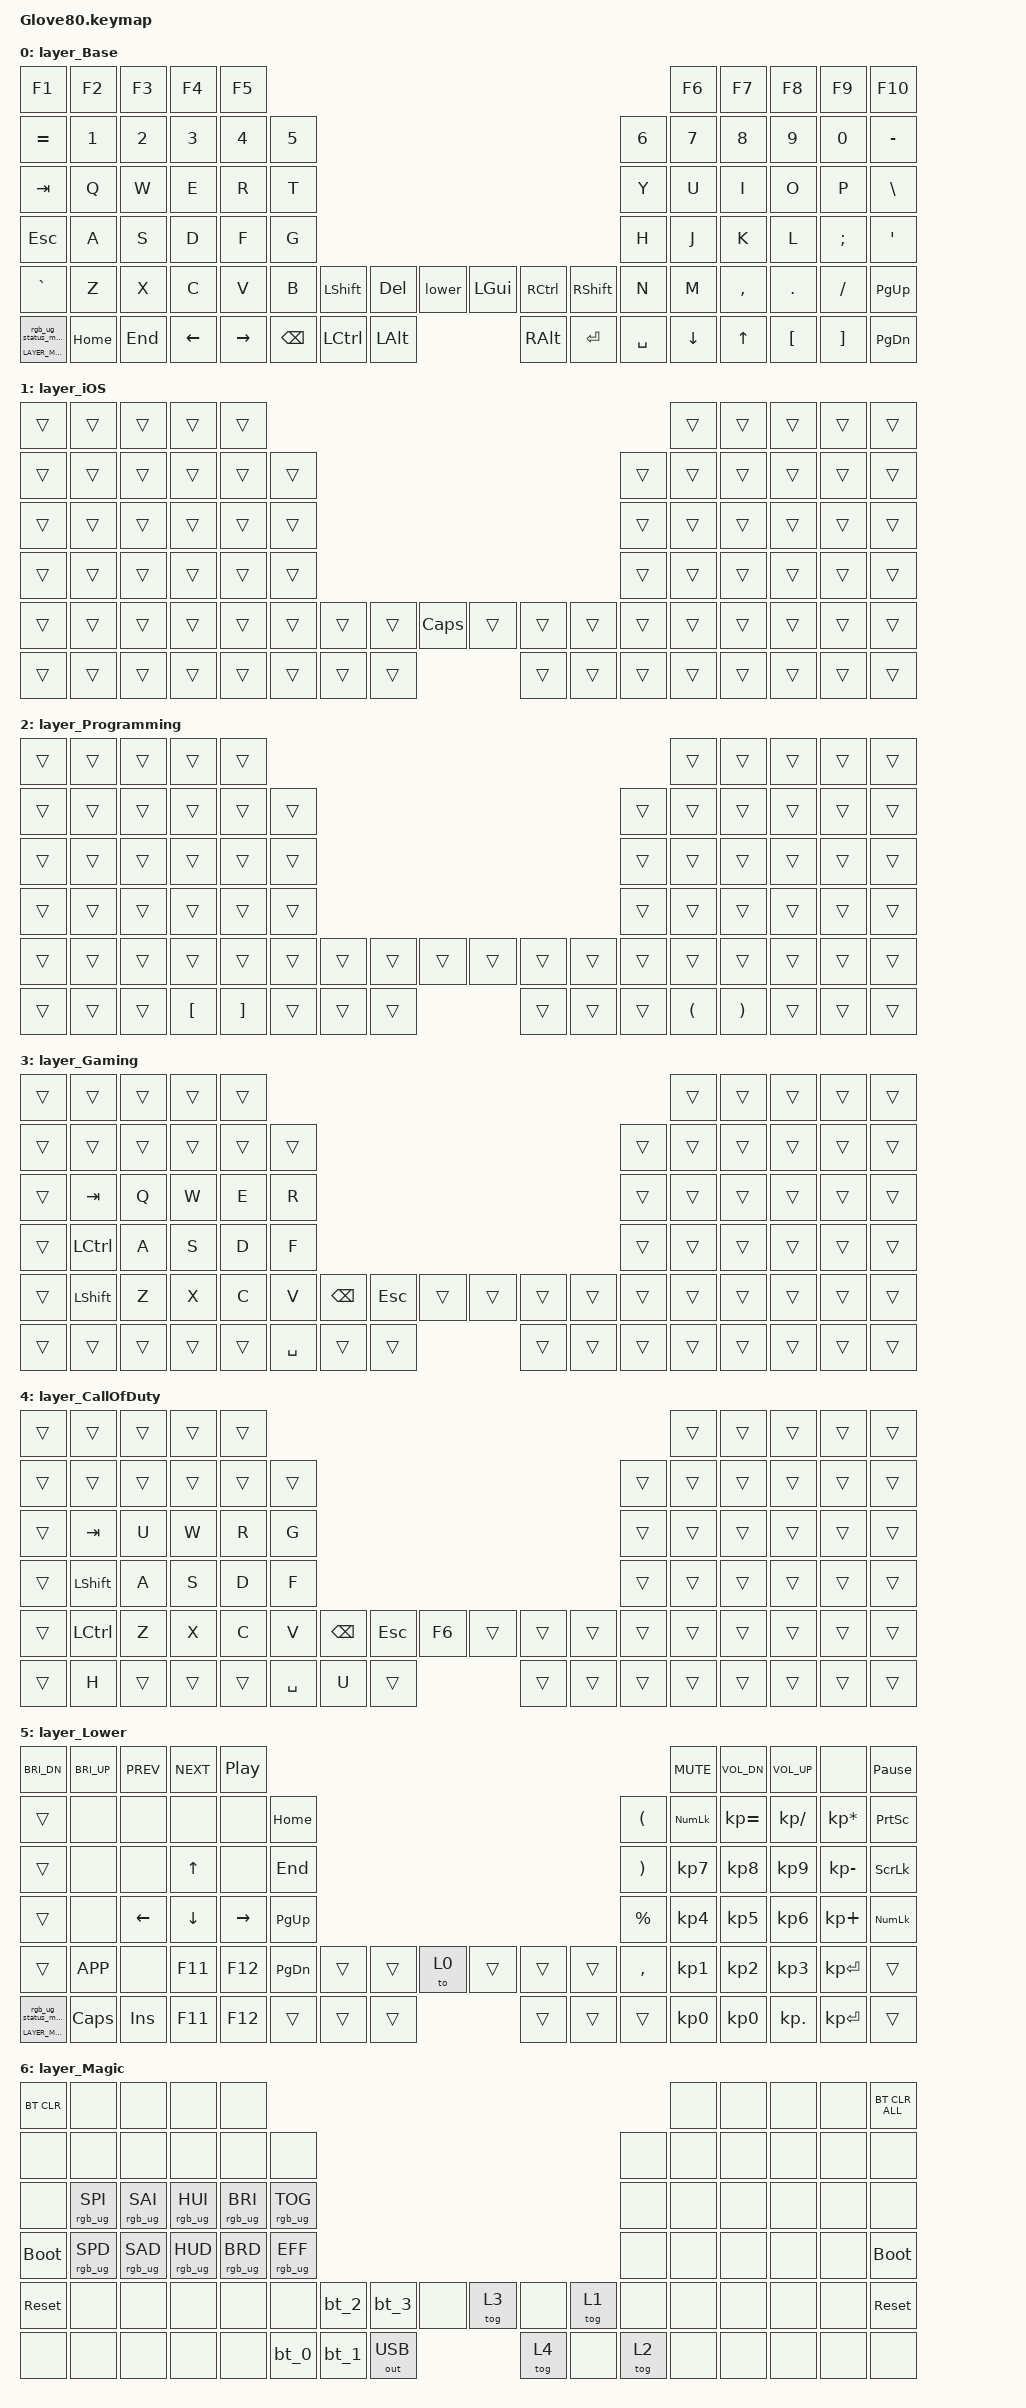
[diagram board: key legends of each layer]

/*
 * Copyright (c) 2020 The ZMK Contributors
 * Copyright (c) 2023 Innaworks Development Limited, trading as MoErgo
 *
 * SPDX-License-Identifier: MIT
 */


/* THIS FILE WAS GENERATED BY GLOVE80 LAYOUT EDITOR
 *
 * This file was generated automatically. You may or may not want to
 * edit it directly.
 */

#include <behaviors.dtsi>
/* Include all behaviour includes needed */
#include <dt-bindings/zmk/outputs.h>
#include <dt-bindings/zmk/keys.h>
#include <dt-bindings/zmk/bt.h>
#include <dt-bindings/zmk/rgb.h>

/* Automatically generated layer name #define */
#define LAYER_Base 0
#define LAYER_iOS 1
#define LAYER_Programming 2
#define LAYER_Gaming 3
#define LAYER_CallOfDuty 4
#define LAYER_Lower 5
#define LAYER_Magic 6

/* To deal with the situation where there is no Lower layer, to keep &lower happy */
#ifndef LAYER_Lower
#define LAYER_Lower 0
#endif

/* Custom Device-tree */



/* Glove80 system behavior & macros */
/ {
    behaviors {
        // For the "layer" key, it'd nice to be able to use it as either a shift or a toggle.
        // Configure it as a tap dance, so the first tap (or hold) is a &mo and the second tap is a &to
        lower: lower {
            compatible = "zmk,behavior-tap-dance";
            label = "LAYER_TAP_DANCE";
            #binding-cells = <0>;
            tapping-term-ms = <200>;
            bindings = <&mo LAYER_Lower>, <&to LAYER_Lower>;
        };
    };
};

/ {
    macros {
        rgb_ug_status_macro: rgb_ug_status_macro {
            label = "RGB_UG_STATUS";
            compatible = "zmk,behavior-macro";
            #binding-cells = <0>;
            bindings
                = <&rgb_ug RGB_STATUS>;
        };
    };
};


/ {
#ifdef BT_DISC_CMD
    behaviors {
        bt_0: bt_0 {
            compatible = "zmk,behavior-tap-dance";
            label = "BT_0";
            #binding-cells = <0>;
            tapping-term-ms = <200>;
            bindings = <&bt_select_0>, <&bt BT_DISC 0>;
        };
        bt_1: bt_1 {
            compatible = "zmk,behavior-tap-dance";
            label = "BT_1";
            #binding-cells = <0>;
            tapping-term-ms = <200>;
            bindings = <&bt_select_1>, <&bt BT_DISC 1>;
        };
        bt_2: bt_2 {
            compatible = "zmk,behavior-tap-dance";
            label = "BT_2";
            #binding-cells = <0>;
            tapping-term-ms = <200>;
            bindings = <&bt_select_2>, <&bt BT_DISC 2>;
        };
        bt_3: bt_3 {
            compatible = "zmk,behavior-tap-dance";
            label = "BT_3";
            #binding-cells = <0>;
            tapping-term-ms = <200>;
            bindings = <&bt_select_3>, <&bt BT_DISC 3>;
        };
    };
    macros {
        bt_select_0: bt_select_0 {
            label = "BT_SELECT_0";
            compatible = "zmk,behavior-macro";
            #binding-cells = <0>;
            bindings
                = <&out OUT_BLE>,
                  <&bt BT_SEL 0>;
        };
        bt_select_1: bt_select_1 {
            label = "BT_SELECT_1";
            compatible = "zmk,behavior-macro";
            #binding-cells = <0>;
            bindings
                = <&out OUT_BLE>,
                  <&bt BT_SEL 1>;
        };
        bt_select_2: bt_select_2 {
            label = "BT_SELECT_2";
            compatible = "zmk,behavior-macro";
            #binding-cells = <0>;
            bindings
                = <&out OUT_BLE>,
                  <&bt BT_SEL 2>;
        };
        bt_select_3: bt_select_3 {
            label = "BT_SELECT_3";
            compatible = "zmk,behavior-macro";
            #binding-cells = <0>;
            bindings
                = <&out OUT_BLE>,
                  <&bt BT_SEL 3>;
        };
    };
#else
    macros {
        bt_0: bt_0 {
            label = "BT_0";
            compatible = "zmk,behavior-macro";
            #binding-cells = <0>;
            bindings
                = <&out OUT_BLE>,
                  <&bt BT_SEL 0>;
        };
        bt_1: bt_1 {
            label = "BT_1";
            compatible = "zmk,behavior-macro";
            #binding-cells = <0>;
            bindings
                = <&out OUT_BLE>,
                  <&bt BT_SEL 1>;
        };
        bt_2: bt_2 {
            label = "BT_2";
            compatible = "zmk,behavior-macro";
            #binding-cells = <0>;
            bindings
                = <&out OUT_BLE>,
                  <&bt BT_SEL 2>;
        };
        bt_3: bt_3 {
            label = "BT_3";
            compatible = "zmk,behavior-macro";
            #binding-cells = <0>;
            bindings
                = <&out OUT_BLE>,
                  <&bt BT_SEL 3>;
        };
    };
#endif
};

/ {
    behaviors {
        magic: magic {
            compatible = "zmk,behavior-hold-tap";
            label = "MAGIC_HOLD_TAP";
            #binding-cells = <2>;
            flavor = "tap-preferred";
            tapping-term-ms = <200>;
            bindings = <&mo>, <&rgb_ug_status_macro>;
        };
    };
};

/* #define for key positions */
#define POS_LH_T1 52
#define POS_LH_T2 53
#define POS_LH_T3 54
#define POS_LH_T4 69
#define POS_LH_T5 70
#define POS_LH_T6 71
#define POS_LH_C1R2 15
#define POS_LH_C1R3 27
#define POS_LH_C1R4 39
#define POS_LH_C1R5 51
#define POS_LH_C2R1 4
#define POS_LH_C2R2 14
#define POS_LH_C2R3 26
#define POS_LH_C2R4 38
#define POS_LH_C2R5 50
#define POS_LH_C2R6 68
#define POS_LH_C3R1 3
#define POS_LH_C3R2 13
#define POS_LH_C3R3 25
#define POS_LH_C3R4 37
#define POS_LH_C3R5 49
#define POS_LH_C3R6 67
#define POS_LH_C4R1 2
#define POS_LH_C4R2 12
#define POS_LH_C4R3 24
#define POS_LH_C4R4 36
#define POS_LH_C4R5 48
#define POS_LH_C4R6 66
#define POS_LH_C5R1 1
#define POS_LH_C5R2 11
#define POS_LH_C5R3 23
#define POS_LH_C5R4 35
#define POS_LH_C5R5 47
#define POS_LH_C5R6 65
#define POS_LH_C6R1 0
#define POS_LH_C6R2 10
#define POS_LH_C6R3 22
#define POS_LH_C6R4 34
#define POS_LH_C6R5 46
#define POS_LH_C6R6 64
#define POS_RH_T1 57
#define POS_RH_T2 56
#define POS_RH_T3 55
#define POS_RH_T4 74
#define POS_RH_T5 73
#define POS_RH_T6 72
#define POS_RH_C1R2 16
#define POS_RH_C1R3 28
#define POS_RH_C1R4 40
#define POS_RH_C1R5 58
#define POS_RH_C2R1 5
#define POS_RH_C2R2 17
#define POS_RH_C2R3 29
#define POS_RH_C2R4 41
#define POS_RH_C2R5 59
#define POS_RH_C2R6 75
#define POS_RH_C3R1 6
#define POS_RH_C3R2 18
#define POS_RH_C3R3 30
#define POS_RH_C3R4 42
#define POS_RH_C3R5 60
#define POS_RH_C3R6 76
#define POS_RH_C4R1 7
#define POS_RH_C4R2 19
#define POS_RH_C4R3 31
#define POS_RH_C4R4 43
#define POS_RH_C4R5 61
#define POS_RH_C4R6 77
#define POS_RH_C5R1 8
#define POS_RH_C5R2 20
#define POS_RH_C5R3 32
#define POS_RH_C5R4 44
#define POS_RH_C5R5 62
#define POS_RH_C5R6 78
#define POS_RH_C6R1 9
#define POS_RH_C6R2 21
#define POS_RH_C6R3 33
#define POS_RH_C6R4 45
#define POS_RH_C6R5 63
#define POS_RH_C6R6 79

    /* Custom Defined Behaviors */
/ {
    
};

    /* Automatically generated keymap */
/ {
    keymap {
        compatible = "zmk,keymap";


        layer_Base {
            bindings = <
               &kp F1    &kp F2   &kp F3    &kp F4     &kp F5                                                                                    &kp F6     &kp F7    &kp F8    &kp F9    &kp F10
            &kp EQUAL    &kp N1   &kp N2    &kp N3     &kp N4  &kp N5                                                                  &kp N6    &kp N7     &kp N8    &kp N9    &kp N0  &kp MINUS
              &kp TAB     &kp Q    &kp W     &kp E      &kp R   &kp T                                                                   &kp Y     &kp U      &kp I     &kp O     &kp P   &kp BSLH
              &kp ESC     &kp A    &kp S     &kp D      &kp F   &kp G                                                                   &kp H     &kp J      &kp K     &kp L  &kp SEMI    &kp SQT
            &kp GRAVE     &kp Z    &kp X     &kp C      &kp V   &kp B  &kp LSHFT    &kp DEL    &lower  &kp LGUI  &kp RCTRL  &kp RSHFT   &kp N     &kp M  &kp COMMA   &kp DOT  &kp FSLH  &kp PG_UP
 &magic LAYER_Magic 0  &kp HOME  &kp END  &kp LEFT  &kp RIGHT           &kp BSPC  &kp LCTRL  &kp LALT  &kp RALT    &kp RET  &kp SPACE          &kp DOWN     &kp UP  &kp LBKT  &kp RBKT  &kp PG_DN
            >;
        };

        layer_iOS {
            bindings = <
 &trans  &trans  &trans  &trans  &trans                                                                    &trans  &trans  &trans  &trans  &trans
 &trans  &trans  &trans  &trans  &trans  &trans                                                    &trans  &trans  &trans  &trans  &trans  &trans
 &trans  &trans  &trans  &trans  &trans  &trans                                                    &trans  &trans  &trans  &trans  &trans  &trans
 &trans  &trans  &trans  &trans  &trans  &trans                                                    &trans  &trans  &trans  &trans  &trans  &trans
 &trans  &trans  &trans  &trans  &trans  &trans  &trans  &trans  &kp CAPS  &trans  &trans  &trans  &trans  &trans  &trans  &trans  &trans  &trans
 &trans  &trans  &trans  &trans  &trans          &trans  &trans    &trans  &trans  &trans  &trans          &trans  &trans  &trans  &trans  &trans
            >;
        };

        layer_Programming {
            bindings = <
 &trans  &trans  &trans    &trans    &trans                                                                    &trans    &trans  &trans  &trans  &trans
 &trans  &trans  &trans    &trans    &trans  &trans                                                  &trans    &trans    &trans  &trans  &trans  &trans
 &trans  &trans  &trans    &trans    &trans  &trans                                                  &trans    &trans    &trans  &trans  &trans  &trans
 &trans  &trans  &trans    &trans    &trans  &trans                                                  &trans    &trans    &trans  &trans  &trans  &trans
 &trans  &trans  &trans    &trans    &trans  &trans  &trans  &trans  &trans  &trans  &trans  &trans  &trans    &trans    &trans  &trans  &trans  &trans
 &trans  &trans  &trans  &kp LBKT  &kp RBKT          &trans  &trans  &trans  &trans  &trans  &trans          &kp LPAR  &kp RPAR  &trans  &trans  &trans
            >;
        };

        layer_Gaming {
            bindings = <
 &trans     &trans  &trans  &trans  &trans                                                                      &trans  &trans  &trans  &trans  &trans
 &trans     &trans  &trans  &trans  &trans  &trans                                                      &trans  &trans  &trans  &trans  &trans  &trans
 &trans    &kp TAB   &kp Q   &kp W   &kp E   &kp R                                                      &trans  &trans  &trans  &trans  &trans  &trans
 &trans  &kp LCTRL   &kp A   &kp S   &kp D   &kp F                                                      &trans  &trans  &trans  &trans  &trans  &trans
 &trans  &kp LSHFT   &kp Z   &kp X   &kp C   &kp V   &kp BSPC  &kp ESC  &trans  &trans  &trans  &trans  &trans  &trans  &trans  &trans  &trans  &trans
 &trans     &trans  &trans  &trans  &trans          &kp SPACE   &trans  &trans  &trans  &trans  &trans          &trans  &trans  &trans  &trans  &trans
            >;
        };

        layer_CallOfDuty {
            bindings = <
 &trans     &trans  &trans  &trans  &trans                                                                      &trans  &trans  &trans  &trans  &trans
 &trans     &trans  &trans  &trans  &trans  &trans                                                      &trans  &trans  &trans  &trans  &trans  &trans
 &trans    &kp TAB   &kp U   &kp W   &kp R   &kp G                                                      &trans  &trans  &trans  &trans  &trans  &trans
 &trans  &kp LSHFT   &kp A   &kp S   &kp D   &kp F                                                      &trans  &trans  &trans  &trans  &trans  &trans
 &trans  &kp LCTRL   &kp Z   &kp X   &kp C   &kp V   &kp BSPC  &kp ESC  &kp F6  &trans  &trans  &trans  &trans  &trans  &trans  &trans  &trans  &trans
 &trans      &kp H  &trans  &trans  &trans          &kp SPACE    &kp U  &trans  &trans  &trans  &trans          &trans  &trans  &trans  &trans  &trans
            >;
        };

        layer_Lower {
            bindings = <
         &kp C_BRI_DN  &kp C_BRI_UP      &kp C_PREV      &kp C_NEXT         &kp C_PP                                                                                    &kp C_MUTE  &kp C_VOL_DN  &kp C_VOL_UP            &none  &kp PAUSE_BREAK
               &trans         &none           &none           &none            &none   &kp HOME                                                   &kp LEFT_PARENTHESIS  &kp KP_NUM  &kp KP_EQUAL  &kp KP_SLASH  &kp KP_MULTIPLY  &kp PRINTSCREEN
               &trans         &none           &none    &kp UP_ARROW            &none    &kp END                                                  &kp RIGHT_PARENTHESIS   &kp KP_N7     &kp KP_N8     &kp KP_N9     &kp KP_MINUS   &kp SCROLLLOCK
               &trans         &none  &kp LEFT_ARROW  &kp DOWN_ARROW  &kp RIGHT_ARROW  &kp PG_UP                                                            &kp PERCENT   &kp KP_N4     &kp KP_N5     &kp KP_N6      &kp KP_PLUS       &kp KP_NUM
               &trans     &kp K_APP           &none         &kp F11          &kp F12  &kp PG_DN  &trans  &trans   &to 0  &trans  &trans  &trans              &kp COMMA   &kp KP_N1     &kp KP_N2     &kp KP_N3     &kp KP_ENTER           &trans
 &magic LAYER_Magic 0      &kp CAPS         &kp INS         &kp F11          &kp F12             &trans  &trans  &trans  &trans  &trans  &trans                          &kp KP_N0     &kp KP_N0    &kp KP_DOT     &kp KP_ENTER           &trans
            >;
        };

        layer_Magic {
            bindings = <
  &bt BT_CLR            &none            &none            &none            &none                                                                                  &none   &none   &none   &none  &bt BT_CLR_ALL
       &none            &none            &none            &none            &none            &none                                                         &none   &none   &none   &none   &none           &none
       &none  &rgb_ug RGB_SPI  &rgb_ug RGB_SAI  &rgb_ug RGB_HUI  &rgb_ug RGB_BRI  &rgb_ug RGB_TOG                                                         &none   &none   &none   &none   &none           &none
 &bootloader  &rgb_ug RGB_SPD  &rgb_ug RGB_SAD  &rgb_ug RGB_HUD  &rgb_ug RGB_BRD  &rgb_ug RGB_EFF                                                         &none   &none   &none   &none   &none     &bootloader
  &sys_reset            &none            &none            &none            &none            &none   &bt_2   &bt_3         &none  &tog 3   &none  &tog 1   &none   &none   &none   &none   &none      &sys_reset
       &none            &none            &none            &none            &none                    &bt_0   &bt_1  &out OUT_USB  &tog 4   &none  &tog 2           &none   &none   &none   &none           &none
            >;
        };

    };
};
